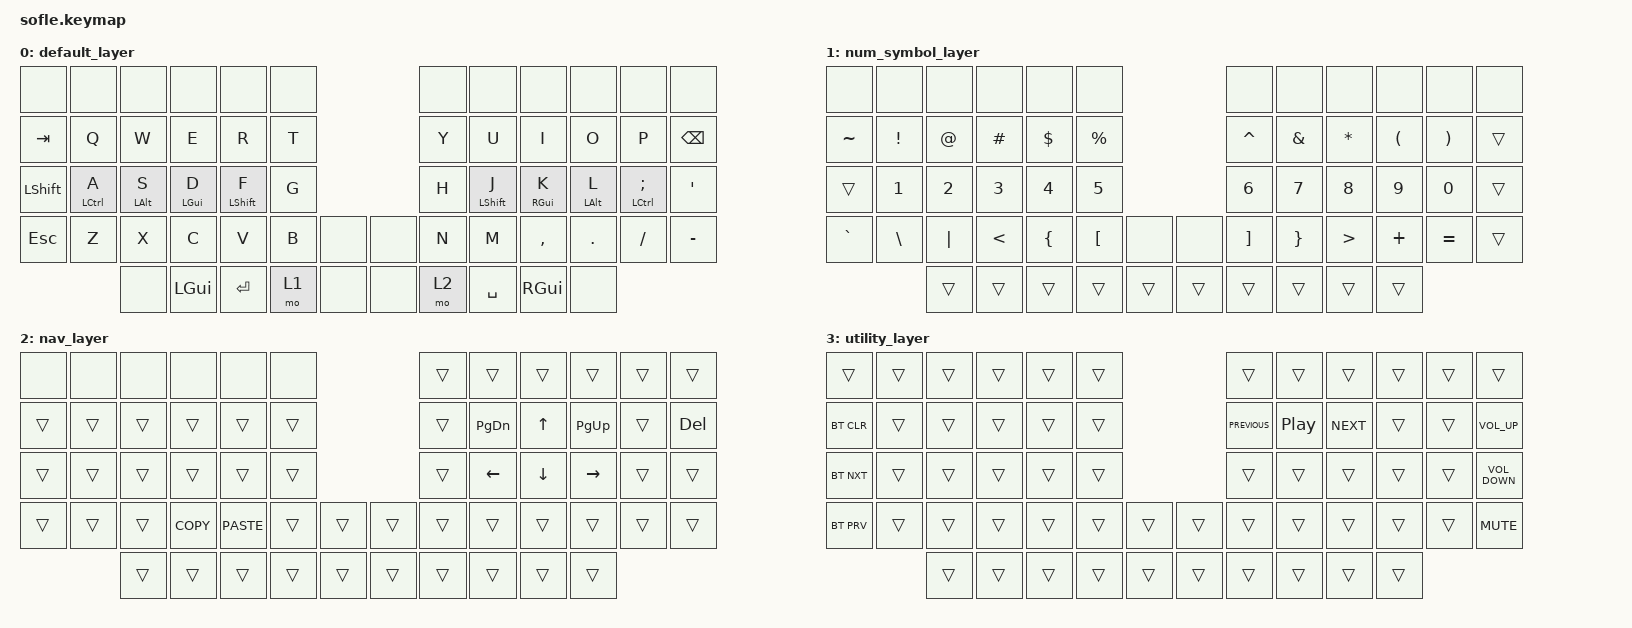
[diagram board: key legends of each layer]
/*
 * Copyright (c) 2020 The ZMK Contributors
 *
 * SPDX-License-Identifier: MIT
 */

#include <behaviors.dtsi>
#include <dt-bindings/zmk/bt.h>
#include <dt-bindings/zmk/keys.h>

/ {
    behaviors {
        hm: hm {
            compatible = "zmk,behavior-hold-tap";
            label = "HM";
            bindings = <&kp>, <&kp>;

            #binding-cells = <2>;
            tapping-term-ms = <200>;
            flavor = "balanced";
        };
    };

    keymap {
        compatible = "zmk,keymap";

        default_layer {
            // ------------------------------------------------------------------------------------------------------------
            // |  `    |  1  |  2   |  3   |  4  |  5    |                         |  6    |  7  |  8   |  9   |   0   |   PLAP/PAUSE    |
            // |  ESC  |  Q  |  W   |  E   |  R  |  T    |                         |  Y    |  U  |  I   |  O   |   P   | BKSPC           |
            // |  TAB  |  A  |  S   |  D   |  F  |  G    |                         |  H    |  J  |  K   |  L   |   ;   |   '             |
            // | SHIFT |  Z  |  X   |  C   |  V  |  B    |  MUTE  |        | ExtPw |  N    |  M  |  ,   |  .   |   /   | SHIFT           |
            //               | CTRL | ALT  | GUI | SPACE |  LOWER |        | RAISE | ENTER | GUI | ALT  | CTRL |

            bindings = <
&none           &none        &none           &none           &none             &none                  &none  &none             &none            &none           &none           &none
&kp TAB         &kp Q        &kp W           &kp E           &kp R             &kp T                  &kp Y  &kp U             &kp I            &kp O           &kp P           &kp BSPC
&kp LEFT_SHIFT  &hm LCTRL A  &hm LEFT_ALT S  &hm LEFT_GUI D  &hm LEFT_SHIFT F  &kp G                  &kp H  &hm LEFT_SHIFT J  &hm RIGHT_GUI K  &hm LEFT_ALT L  &hm LCTRL SEMI  &kp SQT
&kp ESC         &kp Z        &kp X           &kp C           &kp V             &kp B  &none    &none  &kp N  &kp M             &kp COMMA        &kp DOT         &kp FSLH        &kp MINUS
                             &none           &kp LEFT_GUI    &kp ENTER         &mo 1  &none    &none  &mo 2  &kp SPACE         &kp RIGHT_GUI    &none
            >;
        };

        num_symbol_layer {
            // TODO: Some binds are waiting for shifted keycode support.
            // ------------------------------------------------------------------------------------------------------------
            // |       |  F1 |  F2 |  F3  |  F4  |  F5  |                   |  F6  |  F7   |  F8   |  F9  |  F10  |  F11  |
            // | `     |   1 |   2 |   3  |   4  |   5  |                   |   6  |   7   |   8   |   9  |    0  |  F12  |
            // |       |  !  |  @  |  #   |  $   |  %   |                   |  ^   |  &    |  *    |  (   |   )   |   |   |
            // |       |  =  |  -  |  +   |  {   |  }   |        |  |       |  [   |  ]    |  ;    |  :   |   \   |       |
            //               |     |      |      |      |        |  |       |      |       |       |      |

            bindings = <
&none      &none          &none         &none          &none           &none                               &none              &none            &none      &none                 &none                  &none
&kp TILDE  &kp EXCL       &kp AT        &kp HASH       &kp DOLLAR      &kp PERCENT                         &kp CARET          &kp AMPS         &kp ASTRK  &kp LEFT_PARENTHESIS  &kp RIGHT_PARENTHESIS  &trans
&trans     &kp NUMBER_1   &kp NUMBER_2  &kp NUMBER_3   &kp NUMBER_4    &kp N5                              &kp NUMBER_6       &kp N7           &kp N8     &kp N9                &kp N0                 &trans
&kp GRAVE  &kp BACKSLASH  &kp PIPE      &kp LESS_THAN  &kp LEFT_BRACE  &kp LEFT_BRACKET  &none     &none   &kp RIGHT_BRACKET  &kp RIGHT_BRACE  &kp GT     &kp PLUS              &kp EQUAL              &trans
                          &trans        &trans         &trans          &trans            &trans    &trans  &trans             &trans           &trans     &trans
            >;
        };

        nav_layer {
            // ------------------------------------------------------------------------------------------------------------
            // |BTCLR| BT1  | BT2  |  BT3  |  BT4  |  BT5 |                |      |      |       |      |       |       |
            // |     | INS  | PSCR | GUI   |       |      |                | PGUP |      |   ^   |      |       |       |
            // |     | ALT  | CTRL | SHIFT |       | CAPS |                | PGDN |   <- |   v   |  ->  |  DEL  | BKSPC |
            // |     | UNDO | CUT  | COPY  | PASTE |      |      |  |      |      |      |       |      |       |       |
            //              |      |       |       |      |      |  |      |      |      |       |      |

            bindings = <
&none   &none   &none   &none       &none        &none                     &trans  &trans         &trans    &trans     &trans  &trans
&trans  &trans  &trans  &trans      &trans       &trans                    &trans  &kp PAGE_DOWN  &kp UP    &kp PG_UP  &trans  &kp DELETE
&trans  &trans  &trans  &trans      &trans       &trans                    &trans  &kp LEFT       &kp DOWN  &kp RIGHT  &trans  &trans
&trans  &trans  &trans  &kp K_COPY  &kp K_PASTE  &trans  &trans    &trans  &trans  &trans         &trans    &trans     &trans  &trans
                &trans  &trans      &trans       &trans  &trans    &trans  &trans  &trans         &trans    &trans
            >;
        };

        utility_layer {
            bindings = <
&trans      &trans  &trans  &trans  &trans  &trans                    &trans          &trans            &trans      &trans  &trans  &trans
&bt BT_CLR  &trans  &trans  &trans  &trans  &trans                    &kp C_PREVIOUS  &kp C_PLAY_PAUSE  &kp C_NEXT  &trans  &trans  &kp C_VOLUME_UP
&bt BT_NXT  &trans  &trans  &trans  &trans  &trans                    &trans          &trans            &trans      &trans  &trans  &kp C_VOLUME_DOWN
&bt BT_PRV  &trans  &trans  &trans  &trans  &trans  &trans    &trans  &trans          &trans            &trans      &trans  &trans  &kp C_MUTE
                    &trans  &trans  &trans  &trans  &trans    &trans  &trans          &trans            &trans      &trans
            >;
        };
    };

    conditional_layers {
        compatible = "zmk,conditional-layers";

        Utilities {
            if-layers = <1 2>;
            then-layer = <3>;
        };
    };
};
